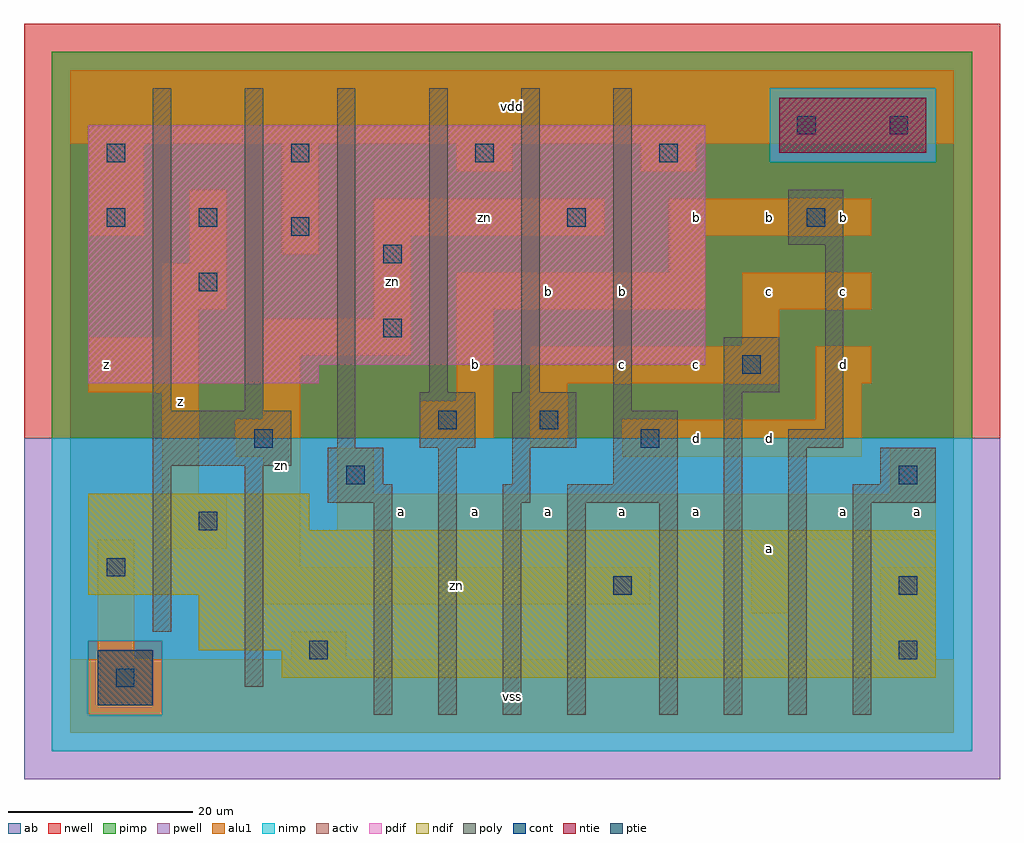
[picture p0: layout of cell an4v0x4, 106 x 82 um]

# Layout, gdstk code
import gdstk
lib = gdstk.Library(unit=1e-6, precision=1e-09)
def R(c, l, rs):  # rectangles x0, y0, x1, y1
    for r in rs: c.add(gdstk.rectangle(r[:2], r[2:], *l))
def A(c, l, x, y, w, h, nx, ny, dx, dy):  # array of equal rectangles
    R(c, l, [(x+i*dx, y+j*dy, x+i*dx+w, y+j*dy+h) for i in range(nx) for j in range(ny)])
ndif = (3, 0)
pdif = (4, 0)
ntie = (5, 0)
ptie = (6, 0)
cont = (25, 0)
pwell = (41, 0)
nwell = (42, 0)
activ = (43, 0)
pimp = (44, 0)
nimp = (45, 0)
poly = (46, 0)
alu1 = (49, 0)
ab = (63, 0)

an4v0x4 = lib.new_cell('an4v0x4')
R(an4v0x4, ndif, [(23,6,94,9), (14,9,94,15), (2,15,94,22), (2,22,26,26)])
R(an4v0x4, pdif, [(2,38,27,40), (2,40,69,66)])
R(an4v0x4, ntie, [(77,63,93,69)])
R(an4v0x4, ptie, [(3,3,9,9)])
A(an4v0x4, cont, 4, 62, 2, 2, 4, 1, 20, 0)
R(an4v0x4, cont, [(5,5,7,7), (26,8,28,10), (90,8,92,10), (59,15,61,17), (90,15,92,17), (4,17,6,19), (14,22,16,24), (30,27,32,29), (90,27,92,29), (20,31,22,33), (62,31,64,33), (40,33,42,35), (51,33,53,35), (73,39,75,41), (34,43,36,45), (14,48,16,50), (34,51,36,53), (24,54,26,56), (4,55,6,57), (14,55,16,57), (54,55,56,57), (80,55,82,57), (79,65,81,67), (89,65,91,67)])
R(an4v0x4, pwell, [(-5,-5,101,32)])
R(an4v0x4, nwell, [(-5,32,101,77)])
R(an4v0x4, activ, [(3,3,9,9), (23,6,94,9), (14,9,94,15), (2,15,94,22), (2,22,26,26), (2,38,27,40), (2,40,69,66), (77,63,93,69)])
R(an4v0x4, pimp, [(2,2,10,10), (-2,32,98,62), (-2,62,76,70), (94,62,98,70), (-2,70,98,74)])
R(an4v0x4, nimp, [(-2,-2,98,2), (-2,2,2,10), (10,2,98,10), (-2,10,98,32), (76,62,94,70)])
R(an4v0x4, poly, [(33,2,35,25), (40,2,42,31), (47,2,49,25), (54,2,56,25), (64,2,66,25), (71,2,73,37), (78,2,80,31), (85,2,87,25), (19,5,21,29), (9,11,11,29), (28,25,35,27), (47,25,50,27), (54,25,66,27), (85,25,94,27), (28,27,34,31), (48,27,50,31), (59,27,66,35), (88,27,94,31), (9,29,24,35), (29,31,31,70), (38,31,44,37), (48,31,55,37), (78,31,84,33), (82,33,84,53), (9,35,11,70), (19,35,21,70), (59,35,61,70), (39,37,41,70), (49,37,51,70), (71,37,77,43), (78,53,84,59)])
R(an4v0x4, alu1, [(0,0,96,8), (3,8,7,21), (24,8,30,11), (88,8,94,18), (74,13,78,21), (21,14,63,18), (21,18,25,30), (10,20,17,26), (74,21,94,22), (29,22,94,26), (10,26,14,37), (29,26,33,31), (89,26,94,31), (18,30,25,34), (60,30,86,34), (50,31,54,38), (38,32,46,36), (21,34,25,41), (81,34,86,38), (42,36,46,46), (2,37,14,43), (50,38,77,42), (81,38,87,42), (21,41,37,45), (73,42,77,46), (10,43,14,46), (33,45,37,54), (10,46,17,51), (42,46,69,50), (73,46,87,50), (65,50,69,54), (13,51,17,59), (23,52,27,64), (2,54,8,64), (33,54,58,58), (65,54,87,58), (42,61,48,64), (62,61,68,64), (0,64,96,72)])
R(an4v0x4, ab, [(0,0,96,72)])
an4v0x4.add(gdstk.Label('zn', (23,29), layer=49, texttype=0))
an4v0x4.add(gdstk.Label('zn', (35,49), layer=49, texttype=0))
an4v0x4.add(gdstk.Label('zn', (42,16), layer=49, texttype=0))
an4v0x4.add(gdstk.Label('zn', (45,56), layer=49, texttype=0))
an4v0x4.add(gdstk.Label('z', (12,36), layer=49, texttype=0))
an4v0x4.add(gdstk.Label('z', (4,40), layer=49, texttype=0))
an4v0x4.add(gdstk.Label('vss', (48,4), layer=49, texttype=0))
an4v0x4.add(gdstk.Label('a', (36,24), layer=49, texttype=0))
an4v0x4.add(gdstk.Label('a', (52,24), layer=49, texttype=0))
an4v0x4.add(gdstk.Label('a', (44,24), layer=49, texttype=0))
an4v0x4.add(gdstk.Label('b', (44,40), layer=49, texttype=0))
an4v0x4.add(gdstk.Label('b', (52,48), layer=49, texttype=0))
an4v0x4.add(gdstk.Label('vdd', (48,68), layer=49, texttype=0))
an4v0x4.add(gdstk.Label('a', (60,24), layer=49, texttype=0))
an4v0x4.add(gdstk.Label('a', (68,24), layer=49, texttype=0))
an4v0x4.add(gdstk.Label('a', (76,20), layer=49, texttype=0))
an4v0x4.add(gdstk.Label('d', (76,32), layer=49, texttype=0))
an4v0x4.add(gdstk.Label('d', (68,32), layer=49, texttype=0))
an4v0x4.add(gdstk.Label('c', (60,40), layer=49, texttype=0))
an4v0x4.add(gdstk.Label('c', (68,40), layer=49, texttype=0))
an4v0x4.add(gdstk.Label('b', (60,48), layer=49, texttype=0))
an4v0x4.add(gdstk.Label('c', (76,48), layer=49, texttype=0))
an4v0x4.add(gdstk.Label('b', (76,56), layer=49, texttype=0))
an4v0x4.add(gdstk.Label('b', (68,56), layer=49, texttype=0))
an4v0x4.add(gdstk.Label('a', (92,24), layer=49, texttype=0))
an4v0x4.add(gdstk.Label('a', (84,24), layer=49, texttype=0))
an4v0x4.add(gdstk.Label('d', (84,40), layer=49, texttype=0))
an4v0x4.add(gdstk.Label('c', (84,48), layer=49, texttype=0))
an4v0x4.add(gdstk.Label('b', (84,56), layer=49, texttype=0))

lib.write_gds('an4v0x4.gds')
